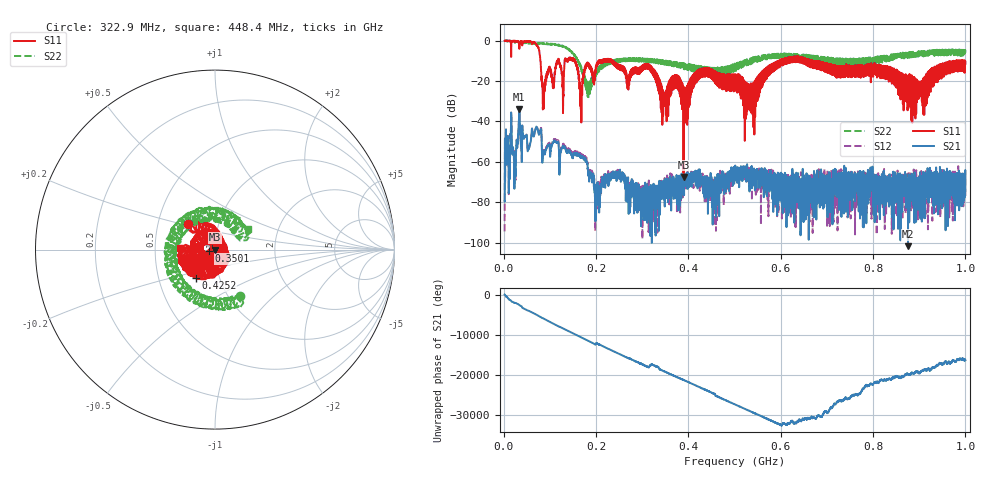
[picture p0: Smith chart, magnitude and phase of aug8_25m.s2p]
!Keysight Technologies N9923A: A.12.45
!Date: Friday, 08 August 2025 17:47:23
!Timezone: (UTC+08:00) Kuala Lumpur, Singapore
!Model: N9923A
!Serial: MY61181427
!GPS Latitude:
!GPS Longitude:
!GPS TimeStamp: 0001-01-01 00:00:00Z
!GPS Seconds Since Last Read: 0
!CHECKSUM:1923091112
!Correction: S11(ON U)S21(ON U)S12(ON U)S22(ON U)
!S2P File: Measurements:S11,S21,S12,S22:
# Hz S DB R 50
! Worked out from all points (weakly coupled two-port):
!   4001 points, 2 MHz to 1 GHz, reference 50 ohm
!   highest |S21| = -34.04 dB at 33.94 MHz (marker M1); lowest = -101.6 dB at 875.7 MHz (marker M2)
!   lowest |S11| = -67.5 dB at 389.5 MHz (marker M3), VSWR 1.00, Z = 50 + j0.0291 ohm
!   |S11| at or under -10 dB: 155.2 MHz to 205.9 MHz (50.72 MHz wide, 28.1 % of centre); 236 MHz to 596.2 MHz (360.1 MHz wide, 86.6 % of centre); 675.7 MHz to 974.3 MHz (298.6 MHz wide, 36.2 % of centre) (the widest 3 of 86)
!   |S22| runs from -28.0 to 0.1 dB; largest |S21 - S12| = 0.0011
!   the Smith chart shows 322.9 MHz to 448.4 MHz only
!   S11 on the Smith chart (normalised r, x): 322.9 MHz: 0.71, +0.21; 350.1 MHz: 0.93, -0.01; 425.2 MHz: 0.77, -0.25; 448.4 MHz: 0.67, +0.01
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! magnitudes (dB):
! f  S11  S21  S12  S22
! 2 MHz  -0.1  -79.4  -94.3  0.0
! 33.94 MHz  -4.0  -34.0  -33.9  -0.7
! 72.11 MHz  -2.3  -43.0  -42.8  -1.3
! 86.83 MHz  -33.7  -54.4  -53.8  -1.7
! 145.2 MHz  -8.5  -55.3  -54.8  -5.5
! 168.4 MHz  -35.4  -57.4  -56.2  -14.0
! 183.6 MHz  -11.4  -66.1  -65.7  -28.0
! 202.3 MHz  -11.8  -79.4  -73.4  -14.4
! 248.5 MHz  -13.5  -67.0  -65.9  -10.0
! 322.9 MHz  -13.7  -81.0  -77.8  -10.7
! 334.8 MHz  -19.2  -72.2  -81.5  -11.4
! 350.1 MHz  -29.1  -71.7  -71.5  -11.9
! 372 MHz  -17.3  -77.4  -70.4  -12.6
! 389.5 MHz  -67.5  -70.1  -70.0  -11.2
! 425.2 MHz  -14.4  -67.1  -66.9  -13.7
! 448.4 MHz  -14.2  -65.5  -71.2  -13.3
! 501 MHz  -16.6  -63.4  -65.1  -15.0
! 538.2 MHz  -24.0  -66.2  -64.7  -11.3
! 667.4 MHz  -10.2  -77.8  -72.3  -8.2
! 833.8 MHz  -18.5  -69.6  -69.2  -8.1
! 875.7 MHz  -18.0  -101.6  -68.0  -8.0
! 1 GHz  -11.5  -74.3  -77.5  -6.1
